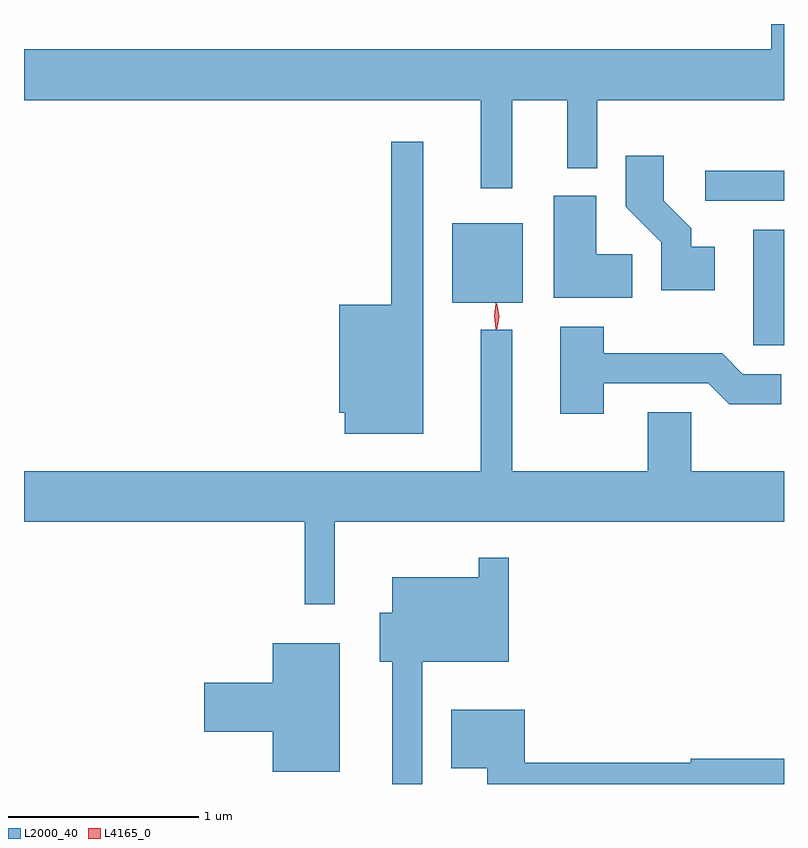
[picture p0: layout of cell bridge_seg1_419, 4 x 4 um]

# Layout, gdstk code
import gdstk
lib = gdstk.Library(unit=1e-6, precision=1e-09)
def R(c, l, rs):  # rectangles x0, y0, x1, y1
    for r in rs: c.add(gdstk.rectangle(r[:2], r[2:], *l))
def P(c, l, *ps):  # polygons
    for p in ps: c.add(gdstk.Polygon(p, *l))
L2000_40 = (2000, 40)
L4165_0 = (4165, 0)

bridge_seg1_419 = lib.new_cell('bridge_seg1_419')
R(bridge_seg1_419, L2000_40, [(351.756,964.886,351.918,965.494), (350.171,965.111,350.544,965.529), (351.503,965.646,351.918,965.804)])
P(bridge_seg1_419, L2000_40, [(350.489,966.176),(350.776,966.176),(350.776,965.818),(350.934,965.818),(350.934,966.176),(351.918,966.176),(351.918,966.577),(351.851,966.577),(351.851,966.444),(347.918,966.444),(347.918,966.176),(350.321,966.176),(350.321,965.713),(350.489,965.713)],
  [(350.019,965.958),(349.851,965.958),(349.851,965.099),(349.576,965.099),(349.576,964.531),(349.606,964.531),(349.606,964.421),(350.019,964.421)],
  [(351.554,965.404),(351.429,965.404),(351.429,965.502),(351.284,965.647),(351.284,965.884),(351.086,965.884),(351.086,965.614),(351.271,965.429),(351.271,965.176),(351.554,965.176)],
  [(351.119,965.364),(350.929,965.364),(350.929,965.674),(350.706,965.674),(350.706,965.136),(351.119,965.136)],
  [(350.969,964.686),(351.519,964.686),(351.629,964.576),(351.903,964.576),(351.903,964.734),(351.702,964.734),(351.592,964.844),(350.969,964.844),(350.969,964.984),(350.741,964.984),(350.741,964.526),(350.969,964.526)],
  [(349.554,963.956),(351.918,963.956),(351.918,964.224),(351.429,964.224),(351.429,964.534),(351.201,964.534),(351.201,964.224),(350.489,964.224),(350.489,964.968),(350.321,964.968),(350.321,964.224),(347.918,964.224),(347.918,963.956),(349.396,963.956),(349.396,963.523),(349.554,963.523)],
  [(350.014,963.221),(350.469,963.221),(350.469,963.768),(350.311,963.768),(350.311,963.664),(349.856,963.664),(349.856,963.479),(349.791,963.479),(349.791,963.221),(349.856,963.221),(349.856,962.577),(350.014,962.577)],
  [(349.579,963.319),(349.226,963.319),(349.226,963.109),(348.866,963.109),(348.866,962.851),(349.226,962.851),(349.226,962.641),(349.579,962.641)],
  [(351.918,962.709),(351.426,962.709),(351.426,962.689),(350.554,962.689),(350.554,962.969),(350.166,962.969),(350.166,962.661),(350.356,962.661),(350.356,962.577),(351.918,962.577)])
P(bridge_seg1_419, L4165_0, [(350.407,964.973),(350.397,965.037),(350.407,965.101),(350.408,965.102),(350.408,965.101),(350.418,965.037),(350.408,964.973),(350.408,964.973)],
  [(350.402,964.969),(350.402,964.97),(350.392,965.038),(350.402,965.106),(350.402,965.106),(350.403,965.106),(350.412,965.038),(350.403,964.97)])

lib.write_gds('bridge_seg1_419.gds')
